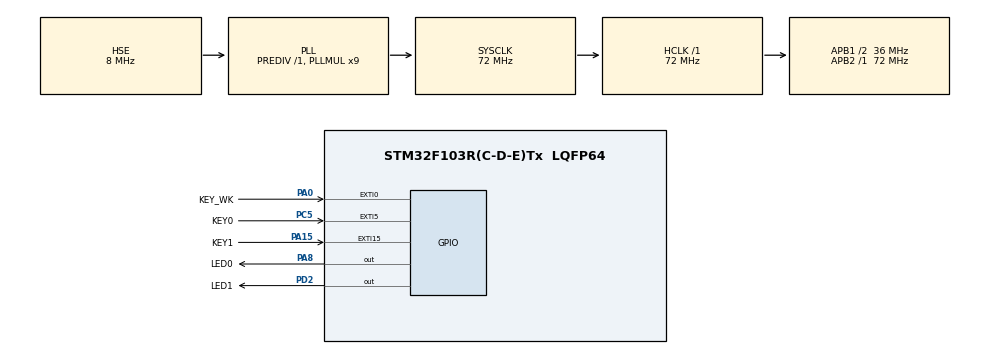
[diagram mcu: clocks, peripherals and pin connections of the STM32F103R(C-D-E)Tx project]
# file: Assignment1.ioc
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Mcu.Family=STM32F1
Mcu.Name=STM32F103R(C-D-E)Tx
Mcu.Package=LQFP64
NVIC.EXTI0_IRQn=true\:1\:0\:true\:false\:true\:true\:true\:true
NVIC.EXTI15_10_IRQn=true\:1\:0\:true\:false\:true\:true\:true\:true
NVIC.EXTI9_5_IRQn=true\:1\:0\:true\:false\:true\:true\:true\:true
NVIC.PriorityGroup=NVIC_PRIORITYGROUP_2
NVIC.RTC_IRQn=true\:0\:0\:false\:false\:true\:true\:true\:true
NVIC.TIM3_IRQn=true\:1\:0\:true\:false\:true\:true\:true\:true
PA0-WKUP.GPIO_Label=KEY_WK
PA0-WKUP.GPIO_ModeDefaultEXTI=GPIO_MODE_IT_RISING
PA0-WKUP.GPIO_PuPd=GPIO_PULLDOWN
PA0-WKUP.Signal=GPXTI0
PA13.Mode=Serial_Wire
PA13.Signal=SYS_JTMS-SWDIO
PA14.Mode=Serial_Wire
PA14.Signal=SYS_JTCK-SWCLK
PA15.GPIO_Label=KEY1
PA15.GPIO_ModeDefaultEXTI=GPIO_MODE_IT_FALLING
PA15.GPIO_PuPd=GPIO_PULLUP
PA15.Signal=GPXTI15
PA8.GPIO_Label=LED0
PA8.PinState=GPIO_PIN_SET
PA8.Signal=GPIO_Output
PC5.GPIO_Label=KEY0
PC5.GPIO_ModeDefaultEXTI=GPIO_MODE_IT_FALLING
PC5.GPIO_PuPd=GPIO_PULLUP
PC5.Signal=GPXTI5
PD0-OSC_IN.Mode=HSE-External-Oscillator
PD0-OSC_IN.Signal=RCC_OSC_IN
PD1-OSC_OUT.Mode=HSE-External-Oscillator
PD1-OSC_OUT.Signal=RCC_OSC_OUT
PD2.GPIO_Label=LED1
PD2.PinState=GPIO_PIN_SET
PD2.Signal=GPIO_Output
ProjectManager.HeapSize=0x200
ProjectManager.StackSize=0x400
ProjectManager.TargetToolchain=STM32CubeIDE
RCC.AHBFreq_Value=72000000
RCC.APB1CLKDivider=RCC_HCLK_DIV2
RCC.APB1Freq_Value=36000000
RCC.APB1TimFreq_Value=72000000
RCC.APB2Freq_Value=72000000
RCC.APB2TimFreq_Value=72000000
RCC.HCLKFreq_Value=72000000
RCC.PLLMUL=RCC_PLL_MUL9
RCC.PLLSourceVirtual=RCC_PLLSOURCE_HSE
RCC.SYSCLKFreq_VALUE=72000000
RCC.SYSCLKSource=RCC_SYSCLKSOURCE_PLLCLK
RCC.USBFreq_Value=72000000
RTC.Date=26
RTC.Format=RTC_FORMAT_BCD
RTC.Hours=23
RTC.Minutes=0
RTC.Month=RTC_MONTH_OCTOBER
RTC.WeekDay=RTC_WEEKDAY_THURSDAY
RTC.Year=23
TIM3.Period=19999
TIM3.Prescaler=7199
VP_RTC_No_RTC_Output.Mode=RTC_OUT_NO
VP_RTC_VS_RTC_Activate.Mode=RTC_Enabled
VP_RTC_VS_RTC_Calendar.Mode=RTC_Calendar
VP_TIM3_VS_ClockSourceINT.Mode=Internal
board=custom

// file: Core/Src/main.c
/* USER CODE BEGIN Header */
/**
  ******************************************************************************
  * @file           : main.c
  * @brief          : Main program body
  ******************************************************************************
  * @attention
  *
  * Copyright (c) 2023 STMicroelectronics.
  * All rights reserved.
  *
  * This software is licensed under terms that can be found in the LICENSE file
  * in the root directory of this software component.
  * If no LICENSE file comes with this software, it is provided AS-IS.
  *
  ******************************************************************************
  */
/* USER CODE END Header */
#include "main.h"
#include "rtc.h"
#include "tim.h"
#include "gpio.h"

/* USER CODE BEGIN Includes */
#include "lcd.h"
/* USER CODE END Includes */

/* USER CODE BEGIN PV */
int mode = 0;
char input[1024];
char *output[1024];
int input_index = 0;
int output_index = 0;
char decode_input_str[1024];
char decode_output_str[1024];
char encode_input_str[1024];
char encode_output_str[1024];
int encode_left = 0;
char encode_alphabet[1024];
int encode_alphabet_index = 0;
int encode_cnt = 0;
int split_arr[1024];
int decode_output_height = 140;

char *huffman_code_map[26] = {"000", "101001", "00101", "11011", "011", "01000", "001001", "0011", "1100", "0010011",
                              "0010000", "11010", "01001", "1011", "1110", "101011", "0010001001", "0101", "1000",
                              "1111", "10011", "101000", "101010", "001000101", "10010", "0010001000"};

RTC_DateTypeDef GetDate;
RTC_TimeTypeDef GetTime;
/* USER CODE END PV */

void SystemClock_Config(void);

/* USER CODE BEGIN 0 */
void Print_Lcd() {
//    LCD_Clear(WHITE);
    char mode_str[20];
    sprintf(mode_str, "HEDM Mode: %s", mode == DECODE ? "DECODE" : "ENCODE");
    LCD_ShowString(10, 10, 200, 24, 24, (uint8_t *) mode_str);
    if (mode == DECODE) {
        sprintf(decode_input_str, "Input: %s", input);
        LCD_ShowString(10, 60, 200, 24, 12, (uint8_t *) decode_input_str);
//        sprintf(decode_output_str, "Output: %s", output);
//        LCD_ShowString(10, 100, 200, 24, 12, (uint8_t *) decode_output_str);
        LCD_ShowString(10, 120, 200, 24, 12, (uint8_t *) "Output:");
    } else {
        sprintf(encode_input_str, "Input: %s", input);
        LCD_ShowString(10, 60, 200, 24, 12, (uint8_t *) encode_input_str);
//        sprintf(encode_output_str, "Output: %s", output);
//        LCD_ShowString(10, 120, 200, 24, 12, (uint8_t *) encode_output_str);
        LCD_ShowString(10, 120, 200, 24, 12, (uint8_t *) "Output:");
        char alphabet_output[1024];
        sprintf(alphabet_output, "Input Alphabet: %s", encode_alphabet);
        LCD_ShowString(10, 100, 200, 24, 12, (uint8_t *) alphabet_output);
    }
    for (int i = 0; i < output_index; i++) {
        LCD_ShowString(10, 140 + i * DELTA_HEIGHT, 200, 24, 12, (uint8_t *) output[i]);
    }
//    LCD_ShowString(10, 200, 200, 24, 12, (uint8_t *) encode_output_str);
//    HAL_RTC_GetTime(&hrtc, &GetTime, RTC_FORMAT_BIN);
//    HAL_RTC_GetDate(&hrtc, &GetDate, RTC_FORMAT_BIN);
//    char now_time[1024];
//    sprintf(now_time, " %%%d/%d/%d %d:%d:%d%%", 2000 + GetDate.Year,
//            GetDate.Month,
//            GetDate.Date, GetTime.Hours, GetTime.Minutes, GetTime.Seconds);
//    LCD_ShowString(10, 240, 200, 24, 12, (uint8_t *) now_time);
//    LCD_ShowImage(10, 280, 21, 100, (uint8_t *) gImage_success);
//    LCD_ShowImage(210, 280, 31, 100, (uint8_t *) gImage_failure);
//    LCD_Show_Success(10, 280, 21, 100);
//    LCD_Show_Failure(140, 280, 31, 100);
}

/* USER CODE END 0 */

int main(void)
{

  /* MCU Configuration--------------------------------------------------------*/

  /* Reset of all peripherals, Initializes the Flash interface and the Systick. */
  HAL_Init();

  /* USER CODE BEGIN Init */
    LCD_Init();
  /* USER CODE END Init */

  /* Configure the system clock */
  SystemClock_Config();

  /* Initialize all configured peripherals */
  MX_GPIO_Init();
  MX_RTC_Init();
  MX_TIM3_Init();

  /* Infinite loop */
    while (1) {

    /* USER CODE BEGIN 3 */
        Print_Lcd();
        HAL_Delay(100);
    }
  /* USER CODE END 3 */
}

void SystemClock_Config(void)
{
  RCC_OscInitTypeDef RCC_OscInitStruct = {0};
  RCC_ClkInitTypeDef RCC_ClkInitStruct = {0};
  RCC_PeriphCLKInitTypeDef PeriphClkInit = {0};

  /** Initializes the RCC Oscillators according to the specified parameters
  * in the RCC_OscInitTypeDef structure.
  */
  RCC_OscInitStruct.OscillatorType = RCC_OSCILLATORTYPE_LSI|RCC_OSCILLATORTYPE_HSE;
  RCC_OscInitStruct.HSEState = RCC_HSE_ON;
  RCC_OscInitStruct.HSEPredivValue = RCC_HSE_PREDIV_DIV1;
  RCC_OscInitStruct.HSIState = RCC_HSI_ON;
  RCC_OscInitStruct.LSIState = RCC_LSI_ON;
  RCC_OscInitStruct.PLL.PLLState = RCC_PLL_ON;
  RCC_OscInitStruct.PLL.PLLSource = RCC_PLLSOURCE_HSE;
  RCC_OscInitStruct.PLL.PLLMUL = RCC_PLL_MUL9;
  if (HAL_RCC_OscConfig(&RCC_OscInitStruct) != HAL_OK)
  {
    Error_Handler();
  }

  /** Initializes the CPU, AHB and APB buses clocks
  */
  RCC_ClkInitStruct.ClockType = RCC_CLOCKTYPE_HCLK|RCC_CLOCKTYPE_SYSCLK
                              |RCC_CLOCKTYPE_PCLK1|RCC_CLOCKTYPE_PCLK2;
  RCC_ClkInitStruct.SYSCLKSource = RCC_SYSCLKSOURCE_PLLCLK;
  RCC_ClkInitStruct.AHBCLKDivider = RCC_SYSCLK_DIV1;
  RCC_ClkInitStruct.APB1CLKDivider = RCC_HCLK_DIV2;
  RCC_ClkInitStruct.APB2CLKDivider = RCC_HCLK_DIV1;

  if (HAL_RCC_ClockConfig(&RCC_ClkInitStruct, FLASH_LATENCY_2) != HAL_OK)
  {
    Error_Handler();
  }
  PeriphClkInit.PeriphClockSelection = RCC_PERIPHCLK_RTC;
  PeriphClkInit.RTCClockSelection = RCC_RTCCLKSOURCE_LSI;
  if (HAL_RCCEx_PeriphCLKConfig(&PeriphClkInit) != HAL_OK)
  {
    Error_Handler();
  }
}

void Error_Handler(void)
{
    __disable_irq();
    while (1) {
    }
}
